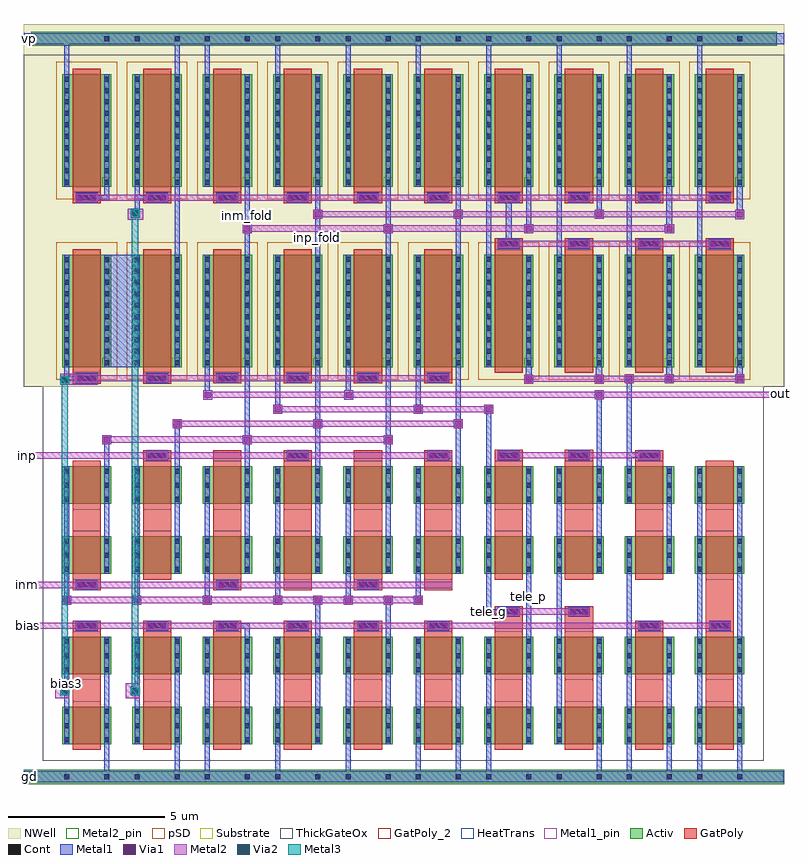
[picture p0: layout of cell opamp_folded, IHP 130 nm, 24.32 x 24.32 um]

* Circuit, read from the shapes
.subckt opamp_folded bias bias3 gd inm inm_fold inp inp_fold out tele_g tele_m tele_p vp
XM1 gd bias bias3 gd sg13_hv_nmos w=1.2u l=0.9u m=2
XM2 inm_fold inm n1 gd sg13_hv_nmos w=1.2u l=0.9u m=6
XM3 gd bias n2 gd sg13_hv_nmos w=1.2u l=0.9u m=2
XM4 inp_fold inp n1 gd sg13_hv_nmos w=1.2u l=0.9u m=6
XM5 bias bias gd gd sg13_hv_nmos w=1.2u l=0.9u m=2
XM6 n1 bias gd gd sg13_hv_nmos w=1.2u l=0.9u m=4
XM7 gd bias gd gd sg13_hv_nmos w=1.2u l=0.9u m=8
XM8 tele_p tele_g gd gd sg13_hv_nmos w=1.2u l=0.9u m=2
XM9 tele_p n3 tele_g gd sg13_hv_nmos w=1.2u l=0.9u m=2
XM10 gd tele_g tele_m gd sg13_hv_nmos w=1.2u l=0.9u m=2
XM11 out n3 tele_m gd sg13_hv_nmos w=1.2u l=0.9u m=2
XM12 n4 n3 gd gd sg13_hv_nmos w=1.2u l=0.9u
XM13 n4 n3 n3 gd sg13_hv_nmos w=1.2u l=0.9u
XM14 n5 bias3 bias3 vp sg13_hv_pmos w=3.6u l=0.9u
XM15 n2 n2 vp vp sg13_hv_pmos w=3.6u l=0.9u m=2
XM16 vp bias3 n5 vp sg13_hv_pmos w=3.6u l=0.9u
XM17 inm_fold bias3 out vp sg13_hv_pmos w=3.6u l=0.9u m=2
XM18 inm_fold n2 vp vp sg13_hv_pmos w=3.6u l=0.9u m=4
XM19 inp_fold bias3 tele_g vp sg13_hv_pmos w=3.6u l=0.9u m=2
XM20 inp_fold n2 vp vp sg13_hv_pmos w=3.6u l=0.9u m=4
XM21 n3 n2 vp vp sg13_hv_pmos w=3.6u l=0.9u m=4
.ends

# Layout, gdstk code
import gdstk
lib = gdstk.Library(unit=1e-6, precision=1e-09)
def R(c, l, rs):  # rectangles x0, y0, x1, y1
    for r in rs: c.add(gdstk.rectangle(r[:2], r[2:], *l))
def A(c, l, x, y, w, h, nx, ny, dx, dy):  # array of equal rectangles
    R(c, l, [(x+i*dx, y+j*dy, x+i*dx+w, y+j*dy+h) for i in range(nx) for j in range(ny)])
Activ = (1, 0)
GatPoly = (5, 0)
GatPoly_2 = (5, 2)
Cont = (6, 0)
Metal1 = (8, 0)
Metal1_pin = (8, 2)
Metal2 = (10, 0)
Metal2_pin = (10, 2)
pSD = (14, 0)
Via1 = (19, 0)
Via2 = (29, 0)
Metal3 = (30, 0)
NWell = (31, 0)
Substrate = (40, 0)
ThickGateOx = (44, 0)
HeatTrans = (51, 0)

pmoshv = lib.new_cell('pmosHV')
R(pmoshv, Activ, [(0,0,0.3,0.3), (0,0,1.58,3.6), (1.28,0,1.58,0.3)])
R(pmoshv, GatPoly, [(0.34,-0.18,1.24,3.78)])
R(pmoshv, GatPoly_2, [(0.34,-0.18,1.24,3.78)])
A(pmoshv, Cont, 0.07, 0.07, 0.16, 0.16, 1, 3, 0, 0.365)
A(pmoshv, Cont, 1.35, 0.07, 0.16, 0.16, 1, 3, 0, 0.365)
A(pmoshv, Cont, 0.07, 1.17, 0.16, 0.16, 1, 3, 0, 0.365)
A(pmoshv, Cont, 1.35, 1.17, 0.16, 0.16, 1, 3, 0, 0.365)
A(pmoshv, Cont, 0.07, 2.27, 0.16, 0.16, 1, 3, 0, 0.365)
A(pmoshv, Cont, 1.35, 2.27, 0.16, 0.16, 1, 3, 0, 0.365)
R(pmoshv, Cont, [(0.07,3.37,0.23,3.53), (1.35,3.37,1.51,3.53)])
R(pmoshv, Metal1, [(0.07,0,0.23,3.6), (1.35,0,1.51,3.6)])
R(pmoshv, Metal1_pin, [(0.07,0,0.23,3.6), (1.35,0,1.51,3.6)])
R(pmoshv, pSD, [(-0.18,-0.4,1.76,4)])
R(pmoshv, NWell, [(-0.62,-0.62,2.2,4.22)])
R(pmoshv, Substrate, [(1.28,0,1.58,0.3)])
R(pmoshv, ThickGateOx, [(-0.62,-0.62,2.2,4.22)])
R(pmoshv, HeatTrans, [(0.34,-0.18,1.24,3.78)])
pmoshv.add(gdstk.Label('pmosHV', (0.79,1.8), layer=63, texttype=0))
pmoshv.add(gdstk.Label('pmos', (0.79,1.8), layer=51, texttype=0))

via_stack_1 = lib.new_cell('via_stack$1')
R(via_stack_1, Metal1, [(-0.145,-0.145,0.145,0.145)])
R(via_stack_1, Metal2, [(-0.145,-0.145,0.145,0.145)])
R(via_stack_1, Via1, [(-0.095,-0.095,0.095,0.095)])

via_stack = lib.new_cell('via_stack')
R(via_stack, Metal1, [(-0.35,-0.145,0.35,0.145)])
R(via_stack, Metal2, [(-0.35,-0.145,0.35,0.145)])
R(via_stack, Via1, [(-0.3,-0.095,-0.11,0.095), (0.11,-0.095,0.3,0.095)])

via_stack_6 = lib.new_cell('via_stack$6')
R(via_stack_6, Metal1, [(-0.145,-0.145,0.145,0.145)])
R(via_stack_6, Metal2, [(-0.145,-0.145,0.145,0.145)])
R(via_stack_6, Via1, [(-0.095,-0.095,0.095,0.095)])
R(via_stack_6, Via2, [(-0.095,-0.095,0.095,0.095)])
R(via_stack_6, Metal3, [(-0.145,-0.145,0.145,0.145)])

nmoshv = lib.new_cell('nmosHV')
R(nmoshv, Activ, [(0,0,0.3,0.3), (0,0,1.58,1.2), (1.28,0,1.58,0.3)])
R(nmoshv, GatPoly, [(0.34,-0.18,1.24,1.38)])
R(nmoshv, GatPoly_2, [(0.34,-0.18,1.24,1.38)])
A(nmoshv, Cont, 0.07, 0.07, 0.16, 0.16, 1, 3, 0, 0.45)
A(nmoshv, Cont, 1.35, 0.07, 0.16, 0.16, 1, 3, 0, 0.45)
R(nmoshv, Metal1, [(0.07,0,0.23,1.2), (1.35,0,1.51,1.2)])
R(nmoshv, Metal1_pin, [(0.07,0,0.23,1.2), (1.35,0,1.51,1.2)])
R(nmoshv, ThickGateOx, [(-0.27,-0.52,1.85,1.72)])
R(nmoshv, HeatTrans, [(0.34,-0.18,1.24,1.38)])
nmoshv.add(gdstk.Label('nmosHV', (0.79,0.6), layer=63, texttype=0))
nmoshv.add(gdstk.Label('nmosHV', (0.79,0.6), layer=51, texttype=0))

opamp_folded = lib.new_cell('opamp_folded')
A(opamp_folded, GatPoly, 6.06, 6.2, 0.9, 0.34, 4, 2, 2.25, 6.615)
A(opamp_folded, GatPoly, 3.81, 10.34, 0.9, 0.34, 5, 1, 2.25, 0)
A(opamp_folded, GatPoly, 15.06, 17.115, 0.9, 0.34, 4, 1, 2.25, 0)
A(opamp_folded, GatPoly, 1.56, 18.585, 0.9, 0.34, 10, 1, 2.25, 0)
R(opamp_folded, GatPoly, [(1.56,6.2,2.46,6.54), (1.56,12.81,2.46,13.15), (3.81,12.81,4.71,13.15)])
A(opamp_folded, Cont, 1.71, 4.98, 0.6, 0.16, 6, 2, 2.25, 7.925)
A(opamp_folded, Cont, 1.71, 6.29, 0.6, 0.16, 3, 1, 4.5, 0)
A(opamp_folded, Cont, 3.96, 10.43, 0.6, 0.16, 3, 1, 4.5, 0)
A(opamp_folded, Cont, 15.21, 17.205, 0.6, 0.16, 4, 1, 2.25, 0)
A(opamp_folded, Cont, 1.71, 18.675, 0.6, 0.16, 10, 1, 2.25, 0)
R(opamp_folded, Cont, [(1.29,0.15,1.45,0.31), (2.57,0.15,2.73,0.31), (3.54,0.15,3.7,0.31), (4.82,0.15,4.98,0.31), (5.79,0.15,5.95,0.31), (7.07,0.15,7.23,0.31), (8.04,0.15,8.2,0.31), (9.32,0.15,9.48,0.31), (10.29,0.15,10.45,0.31), (11.57,0.15,11.73,0.31), (12.54,0.15,12.7,0.31), (13.82,0.15,13.98,0.31), (14.79,0.15,14.95,0.31), (16.07,0.15,16.23,0.31), (17.04,0.15,17.2,0.31), (18.32,0.15,18.48,0.31), (19.29,0.15,19.45,0.31), (20.57,0.15,20.73,0.31), (21.54,0.15,21.7,0.31), (22.82,0.15,22.98,0.31), (19.71,4.98,20.31,5.14), (21.97,4.98,22.57,5.14), (15.21,5.43,15.81,5.59), (17.46,5.43,18.06,5.59), (19.71,10.43,20.31,10.59), (15.21,10.44,15.81,10.6), (17.46,10.44,18.06,10.6), (2.57,23.765,2.73,23.925), (3.54,23.765,3.7,23.925), (4.82,23.765,4.98,23.925), (5.79,23.765,5.95,23.925), (7.07,23.765,7.23,23.925), (8.04,23.765,8.2,23.925), (9.32,23.765,9.48,23.925), (10.29,23.765,10.45,23.925), (11.57,23.765,11.73,23.925), (12.54,23.765,12.7,23.925), (13.82,23.765,13.98,23.925), (14.79,23.765,14.95,23.925), (16.07,23.765,16.23,23.925), (17.04,23.765,17.2,23.925), (18.32,23.765,18.48,23.925), (19.29,23.765,19.45,23.925), (20.57,23.765,20.73,23.925), (21.54,23.765,21.7,23.925), (22.82,23.765,22.98,23.925)])
A(opamp_folded, Metal1, 1.66, 4.89, 0.7, 0.34, 6, 1, 2.25, 0)
A(opamp_folded, Metal1, 1.66, 6.2, 0.7, 0.34, 3, 1, 4.5, 0)
A(opamp_folded, Metal1, 3.91, 10.34, 0.7, 0.34, 3, 1, 4.5, 0)
A(opamp_folded, Metal1, 6.16, 12.815, 0.7, 0.34, 4, 1, 2.25, 0)
A(opamp_folded, Metal1, 15.16, 17.115, 0.7, 0.34, 4, 1, 2.25, 0)
A(opamp_folded, Metal1, 1.66, 18.585, 0.7, 0.34, 10, 1, 2.25, 0)
R(opamp_folded, Metal1, [(19.66,4.89,20.36,5.23), (21.92,4.89,22.62,5.23), (15.16,5.345,15.86,5.685), (17.41,5.345,18.11,5.685), (19.66,10.34,20.36,10.68), (15.16,10.35,15.86,10.69), (17.41,10.35,18.11,10.69), (1.66,12.81,2.36,13.15), (3.91,12.81,4.61,13.15), (2.57,13.33,3.7,16.93)])
R(opamp_folded, Metal1_pin, [(0,0.05,0.36,0.41), (0,23.665,0.36,24.025)])
R(opamp_folded, Metal2, [(1.01,2.74,1.45,3.23), (3.26,2.74,3.7,3.23), (1.16,12.77,2.36,13.125), (3.32,18.045,3.81,18.405)])
R(opamp_folded, Metal2_pin, [(0,4.96,0.2,5.16), (0,6.27,0.2,6.47), (0,10.41,0.2,10.61), (24.12,12.35,24.32,12.55)])
R(opamp_folded, NWell, [(0,12.71,24.32,24.315)])
R(opamp_folded, ThickGateOx, [(0.6,0.75,23.67,12.71), (0,12.71,24.32,23.325)])
opamp_folded.add(gdstk.FlexPath([(14.87,6.72),(14.87,12.09)], 0.16, ends="flush", simple_path=True, layer=8, datatype=0))  # Metal1
opamp_folded.add(gdstk.FlexPath([(18.4,6.72),(18.4,10.16)], 0.16, ends="flush", simple_path=True, layer=8, datatype=0))  # Metal1
opamp_folded.add(gdstk.FlexPath([(5.87,13.565),(5.87,12.35)], 0.16, ends="flush", simple_path=True, layer=8, datatype=0))  # Metal1
opamp_folded.add(gdstk.FlexPath([(8.12,13.565),(8.12,11.89)], 0.16, ends="flush", simple_path=True, layer=8, datatype=0))  # Metal1
opamp_folded.add(gdstk.FlexPath([(10.37,13.565),(10.37,12.35)], 0.16, ends="flush", simple_path=True, layer=8, datatype=0))  # Metal1
opamp_folded.add(gdstk.FlexPath([(12.62,13.35),(12.62,11.89)], 0.16, ends="flush", simple_path=True, layer=8, datatype=0))  # Metal1
opamp_folded.add(gdstk.FlexPath([(19.37,10.16),(19.37,13.105)], 0.16, ends="flush", simple_path=True, layer=8, datatype=0))  # Metal1
opamp_folded.add(gdstk.FlexPath([(18.4,10.16),(18.4,12.6)], 0.16, ends="flush", simple_path=True, layer=8, datatype=0))  # Metal1
opamp_folded.add(gdstk.FlexPath([(7.15,6.72),(7.15,17.86)], 0.16, ends="flush", simple_path=True, layer=8, datatype=0))  # Metal1
opamp_folded.add(gdstk.FlexPath([(9.4,6.72),(9.4,18.315)], 0.16, ends="flush", simple_path=True, layer=8, datatype=0))  # Metal1
opamp_folded.add(gdstk.FlexPath([(11.65,6.72),(11.65,17.86)], 0.16, ends="flush", simple_path=True, layer=8, datatype=0))  # Metal1
opamp_folded.add(gdstk.FlexPath([(13.9,6.72),(13.9,18.315)], 0.16, ends="flush", simple_path=True, layer=8, datatype=0))  # Metal1
opamp_folded.add(gdstk.FlexPath([(22.9,13.335),(22.9,12.865)], 0.2, ends="flush", simple_path=True, layer=8, datatype=0))  # Metal1
opamp_folded.add(gdstk.FlexPath([(20.65,13.335),(20.65,12.865)], 0.2, ends="flush", simple_path=True, layer=8, datatype=0))  # Metal1
opamp_folded.add(gdstk.FlexPath([(14.87,13.335),(14.87,23.845)], 0.16, ends="flush", simple_path=True, layer=8, datatype=0))  # Metal1
opamp_folded.add(gdstk.FlexPath([(17.12,13.335),(17.12,23.845)], 0.16, ends="flush", simple_path=True, layer=8, datatype=0))  # Metal1
opamp_folded.add(gdstk.FlexPath([(12.62,19.105),(12.62,23.845)], 0.16, ends="flush", simple_path=True, layer=8, datatype=0))  # Metal1
opamp_folded.add(gdstk.FlexPath([(10.37,19.105),(10.37,23.845)], 0.16, ends="flush", simple_path=True, layer=8, datatype=0))  # Metal1
opamp_folded.add(gdstk.FlexPath([(8.12,19.105),(8.12,23.845)], 0.16, ends="flush", simple_path=True, layer=8, datatype=0))  # Metal1
opamp_folded.add(gdstk.FlexPath([(5.87,19.105),(5.87,23.845)], 0.16, ends="flush", simple_path=True, layer=8, datatype=0))  # Metal1
opamp_folded.add(gdstk.FlexPath([(1.37,19.105),(1.37,23.845)], 0.16, ends="flush", simple_path=True, layer=8, datatype=0))  # Metal1
opamp_folded.add(gdstk.FlexPath([(18.4,13.335),(18.4,12.86)], 0.2, ends="flush", simple_path=True, layer=8, datatype=0))  # Metal1
opamp_folded.add(gdstk.FlexPath([(16.15,13.335),(16.15,12.86)], 0.2, ends="flush", simple_path=True, layer=8, datatype=0))  # Metal1
opamp_folded.add(gdstk.FlexPath([(0,23.845),(24.32,23.845)], 0.36, ends="flush", simple_path=True, layer=8, datatype=0))  # Metal1
opamp_folded.add(gdstk.FlexPath([(3.62,18.11),(3.62,19.105)], 0.16, ends="flush", simple_path=True, layer=8, datatype=0))  # Metal1
opamp_folded.add(gdstk.FlexPath([(19.37,13.335),(19.37,23.845)], 0.16, ends="flush", simple_path=True, layer=8, datatype=0))  # Metal1
opamp_folded.add(gdstk.FlexPath([(21.62,13.335),(21.62,23.845)], 0.16, ends="flush", simple_path=True, layer=8, datatype=0))  # Metal1
opamp_folded.add(gdstk.FlexPath([(1.66,12.98),(1.37,12.98),(1.37,13.33)], 0.16, ends="flush", simple_path=True, layer=8, datatype=0))  # Metal1
opamp_folded.add(gdstk.FlexPath([(15.51,18.84),(15.51,17.455)], 0.2, ends="flush", simple_path=True, layer=8, datatype=0))  # Metal1
opamp_folded.add(gdstk.FlexPath([(22.9,19.105),(22.9,18.08)], 0.2, ends="flush", simple_path=True, layer=8, datatype=0))  # Metal1
opamp_folded.add(gdstk.FlexPath([(20.65,19.105),(20.65,17.625)], 0.2, ends="flush", simple_path=True, layer=8, datatype=0))  # Metal1
opamp_folded.add(gdstk.FlexPath([(18.4,22.705),(18.4,18.12)], 0.16, ends="flush", simple_path=True, layer=8, datatype=0))  # Metal1
opamp_folded.add(gdstk.FlexPath([(16.15,22.67),(16.15,17.67)], 0.16, ends="flush", simple_path=True, layer=8, datatype=0))  # Metal1
opamp_folded.add(gdstk.FlexPath([(13.9,22.705),(13.9,18.12)], 0.16, ends="flush", simple_path=True, layer=8, datatype=0))  # Metal1
opamp_folded.add(gdstk.FlexPath([(4.9,16.93),(4.9,23.845)], 0.16, ends="flush", simple_path=True, layer=8, datatype=0))  # Metal1
opamp_folded.add(gdstk.FlexPath([(7.15,22.67),(7.15,17.67)], 0.16, ends="flush", simple_path=True, layer=8, datatype=0))  # Metal1
opamp_folded.add(gdstk.FlexPath([(9.4,22.705),(9.4,18.12)], 0.16, ends="flush", simple_path=True, layer=8, datatype=0))  # Metal1
opamp_folded.add(gdstk.FlexPath([(11.65,22.67),(11.65,17.67)], 0.16, ends="flush", simple_path=True, layer=8, datatype=0))  # Metal1
opamp_folded.add(gdstk.FlexPath([(2.65,19.105),(2.65,18.755),(2.36,18.755)], 0.16, ends="flush", simple_path=True, layer=8, datatype=0))  # Metal1
opamp_folded.add(gdstk.FlexPath([(3.62,19.105),(3.62,18.755),(3.91,18.755)], 0.16, ends="flush", simple_path=True, layer=8, datatype=0))  # Metal1
opamp_folded.add(gdstk.FlexPath([(0,0.23),(24.32,0.23)], 0.36, ends="flush", simple_path=True, layer=8, datatype=0))  # Metal1
opamp_folded.add(gdstk.FlexPath([(1.37,1.27),(1.37,4.71)], 0.16, ends="flush", simple_path=True, layer=8, datatype=0))  # Metal1
opamp_folded.add(gdstk.FlexPath([(4.9,4.71),(4.9,0.23)], 0.16, ends="flush", simple_path=True, layer=8, datatype=0))  # Metal1
opamp_folded.add(gdstk.FlexPath([(5.87,4.71),(5.87,0.23)], 0.16, ends="flush", simple_path=True, layer=8, datatype=0))  # Metal1
opamp_folded.add(gdstk.FlexPath([(8.12,4.71),(8.12,0.23)], 0.16, ends="flush", simple_path=True, layer=8, datatype=0))  # Metal1
opamp_folded.add(gdstk.FlexPath([(10.37,4.71),(10.37,0.23)], 0.16, ends="flush", simple_path=True, layer=8, datatype=0))  # Metal1
opamp_folded.add(gdstk.FlexPath([(13.9,4.71),(13.9,0.23)], 0.16, ends="flush", simple_path=True, layer=8, datatype=0))  # Metal1
opamp_folded.add(gdstk.FlexPath([(12.62,4.71),(12.62,0.23)], 0.16, ends="flush", simple_path=True, layer=8, datatype=0))  # Metal1
opamp_folded.add(gdstk.FlexPath([(14.87,4.71),(14.87,0.23)], 0.16, ends="flush", simple_path=True, layer=8, datatype=0))  # Metal1
opamp_folded.add(gdstk.FlexPath([(18.4,4.71),(18.4,0.23)], 0.16, ends="flush", simple_path=True, layer=8, datatype=0))  # Metal1
opamp_folded.add(gdstk.FlexPath([(20.65,4.71),(20.65,0.23)], 0.16, ends="flush", simple_path=True, layer=8, datatype=0))  # Metal1
opamp_folded.add(gdstk.FlexPath([(21.62,10.16),(21.62,0.23)], 0.16, ends="flush", simple_path=True, layer=8, datatype=0))  # Metal1
opamp_folded.add(gdstk.FlexPath([(22.9,10.16),(22.9,0.23)], 0.16, ends="flush", simple_path=True, layer=8, datatype=0))  # Metal1
opamp_folded.add(gdstk.FlexPath([(1.37,5.74),(1.37,8.96)], 0.16, ends="flush", simple_path=True, layer=8, datatype=0))  # Metal1
opamp_folded.add(gdstk.FlexPath([(2.65,7.92),(2.65,11.12)], 0.16, ends="flush", simple_path=True, layer=8, datatype=0))  # Metal1
opamp_folded.add(gdstk.FlexPath([(3.62,5.74),(3.62,8.96)], 0.16, ends="flush", simple_path=True, layer=8, datatype=0))  # Metal1
opamp_folded.add(gdstk.FlexPath([(4.9,7.92),(4.9,11.58)], 0.16, ends="flush", simple_path=True, layer=8, datatype=0))  # Metal1
opamp_folded.add(gdstk.FlexPath([(19.37,6.72),(19.37,0.23)], 0.16, ends="flush", simple_path=True, layer=8, datatype=0))  # Metal1
opamp_folded.add(gdstk.FlexPath([(10.37,10.16),(10.37,5.78)], 0.16, ends="flush", simple_path=True, layer=8, datatype=0))  # Metal1
opamp_folded.add(gdstk.FlexPath([(14.87,6.72),(14.87,5.515),(15.16,5.515)], 0.16, ends="flush", simple_path=True, layer=8, datatype=0))  # Metal1
opamp_folded.add(gdstk.FlexPath([(12.62,10.16),(12.62,5.78)], 0.16, ends="flush", simple_path=True, layer=8, datatype=0))  # Metal1
opamp_folded.add(gdstk.FlexPath([(11.65,4.71),(11.65,1.27)], 0.16, ends="flush", simple_path=True, layer=8, datatype=0))  # Metal1
opamp_folded.add(gdstk.FlexPath([(11.65,1.27),(11.65,5.99)], 0.16, ends="flush", simple_path=True, layer=8, datatype=0))  # Metal1
opamp_folded.add(gdstk.FlexPath([(16.15,1.27),(16.15,10.16)], 0.16, ends="flush", simple_path=True, layer=8, datatype=0))  # Metal1
opamp_folded.add(gdstk.FlexPath([(17.12,10.16),(17.12,1.27)], 0.16, ends="flush", simple_path=True, layer=8, datatype=0))  # Metal1
opamp_folded.add(gdstk.FlexPath([(8.12,10.09),(8.12,5.78)], 0.16, ends="flush", simple_path=True, layer=8, datatype=0))  # Metal1
opamp_folded.add(gdstk.FlexPath([(5.87,10.16),(5.87,5.785)], 0.16, ends="flush", simple_path=True, layer=8, datatype=0))  # Metal1
opamp_folded.add(gdstk.FlexPath([(9.4,1.27),(9.4,5.99)], 0.16, ends="flush", simple_path=True, layer=8, datatype=0))  # Metal1
opamp_folded.add(gdstk.FlexPath([(7.15,1.27),(7.15,5.06),(6.86,5.06)], 0.16, ends="flush", simple_path=True, layer=8, datatype=0))  # Metal1
opamp_folded.add(gdstk.FlexPath([(3.62,1.27),(3.62,4.71)], 0.16, ends="flush", simple_path=True, layer=8, datatype=0))  # Metal1
opamp_folded.add(gdstk.FlexPath([(20.65,7.92),(20.65,8.96)], 0.16, ends="flush", simple_path=True, layer=8, datatype=0))  # Metal1
opamp_folded.add(gdstk.FlexPath([(19.37,10.16),(19.37,10.51),(19.66,10.51)], 0.16, ends="flush", simple_path=True, layer=8, datatype=0))  # Metal1
opamp_folded.add(gdstk.FlexPath([(2.65,4.71),(2.65,0.23)], 0.16, ends="flush", simple_path=True, layer=8, datatype=0))  # Metal1
opamp_folded.add(gdstk.FlexPath([(0.24,23.845),(24.08,23.845)], 0.46, ends="flush", simple_path=True, layer=1, datatype=0))  # Activ
opamp_folded.add(gdstk.FlexPath([(0,0.23),(24.32,0.23)], 0.46, ends="flush", simple_path=True, layer=1, datatype=0))  # Activ
opamp_folded.add(gdstk.FlexPath([(17.76,1.09),(17.76,5.685)], 0.9, ends="flush", simple_path=True, layer=5, datatype=0))  # GatPoly
opamp_folded.add(gdstk.FlexPath([(15.51,1.09),(15.51,5.685)], 0.9, ends="flush", simple_path=True, layer=5, datatype=0))  # GatPoly
opamp_folded.add(gdstk.FlexPath([(11.01,8.1),(11.01,8.78)], 0.9, ends="flush", simple_path=True, layer=5, datatype=0))  # GatPoly
opamp_folded.add(gdstk.FlexPath([(13.26,8.1),(13.26,8.78)], 0.9, ends="flush", simple_path=True, layer=5, datatype=0))  # GatPoly
opamp_folded.add(gdstk.FlexPath([(11.01,1.09),(11.01,5.23)], 0.9, ends="flush", simple_path=True, layer=5, datatype=0))  # GatPoly
opamp_folded.add(gdstk.FlexPath([(8.76,1.09),(8.76,5.23)], 0.9, ends="flush", simple_path=True, layer=5, datatype=0))  # GatPoly
opamp_folded.add(gdstk.FlexPath([(13.26,1.09),(13.26,5.23)], 0.9, ends="flush", simple_path=True, layer=5, datatype=0))  # GatPoly
opamp_folded.add(gdstk.FlexPath([(20.01,1.09),(20.01,5.23)], 0.9, ends="flush", simple_path=True, layer=5, datatype=0))  # GatPoly
opamp_folded.add(gdstk.FlexPath([(8.76,8.1),(8.76,8.78)], 0.9, ends="flush", simple_path=True, layer=5, datatype=0))  # GatPoly
opamp_folded.add(gdstk.FlexPath([(6.51,8.1),(6.51,8.78)], 0.9, ends="flush", simple_path=True, layer=5, datatype=0))  # GatPoly
opamp_folded.add(gdstk.FlexPath([(15.51,6.54),(15.51,10.69)], 0.9, ends="flush", simple_path=True, layer=5, datatype=0))  # GatPoly
opamp_folded.add(gdstk.FlexPath([(17.76,6.54),(17.76,10.69)], 0.9, ends="flush", simple_path=True, layer=5, datatype=0))  # GatPoly
opamp_folded.add(gdstk.FlexPath([(2.01,1.09),(2.01,5.23)], 0.9, ends="flush", simple_path=True, layer=5, datatype=0))  # GatPoly
opamp_folded.add(gdstk.FlexPath([(4.26,1.09),(4.26,5.23)], 0.9, ends="flush", simple_path=True, layer=5, datatype=0))  # GatPoly
opamp_folded.add(gdstk.FlexPath([(4.26,8.1),(4.26,8.78)], 0.9, ends="flush", simple_path=True, layer=5, datatype=0))  # GatPoly
opamp_folded.add(gdstk.FlexPath([(2.01,8.1),(2.01,8.78)], 0.9, ends="flush", simple_path=True, layer=5, datatype=0))  # GatPoly
opamp_folded.add(gdstk.FlexPath([(6.51,5.23),(6.51,1.09)], 0.9, ends="flush", simple_path=True, layer=5, datatype=0))  # GatPoly
opamp_folded.add(gdstk.FlexPath([(20.01,10.68),(20.01,6.54)], 0.9, ends="flush", simple_path=True, layer=5, datatype=0))  # GatPoly
opamp_folded.add(gdstk.FlexPath([(22.26,1.09),(22.26,5.23)], 0.9, ends="flush", simple_path=True, layer=5, datatype=0))  # GatPoly
opamp_folded.add(gdstk.FlexPath([(22.26,10.34),(22.26,5.23)], 0.9, ends="flush", simple_path=True, layer=5, datatype=0))  # GatPoly
opamp_folded.add(gdstk.FlexPath([(0.03,0.23),(24.29,0.23)], 0.36, ends="flush", simple_path=True, layer=14, datatype=0))  # pSD
opamp_folded.add(gdstk.FlexPath([(14.04,11.525),(4.805,11.525)], 0.2, ends="flush", simple_path=True, layer=10, datatype=0))  # Metal2
opamp_folded.add(gdstk.FlexPath([(2.57,11.02),(11.795,11.02)], 0.2, ends="flush", simple_path=True, layer=10, datatype=0))  # Metal2
opamp_folded.add(gdstk.FlexPath([(15.01,11.99),(7.98,11.99)], 0.2, ends="flush", simple_path=True, layer=10, datatype=0))  # Metal2
opamp_folded.add(gdstk.FlexPath([(24.32,12.45),(5.79,12.45)], 0.2, ends="flush", simple_path=True, layer=10, datatype=0))  # Metal2
opamp_folded.add(gdstk.FlexPath([(23.045,12.965),(16.005,12.965)], 0.2, ends="flush", simple_path=True, layer=10, datatype=0))  # Metal2
opamp_folded.add(gdstk.FlexPath([(15.16,17.285),(22.61,17.285)], 0.2, ends="flush", simple_path=True, layer=10, datatype=0))  # Metal2
opamp_folded.add(gdstk.FlexPath([(1.66,12.98),(13.61,12.98)], 0.2, ends="flush", simple_path=True, layer=10, datatype=0))  # Metal2
opamp_folded.add(gdstk.FlexPath([(7.005,17.77),(20.8,17.77)], 0.2, ends="flush", simple_path=True, layer=10, datatype=0))  # Metal2
opamp_folded.add(gdstk.FlexPath([(23.05,18.225),(9.255,18.225)], 0.2, ends="flush", simple_path=True, layer=10, datatype=0))  # Metal2
opamp_folded.add(gdstk.FlexPath([(4.61,18.755),(1.66,18.755)], 0.2, ends="flush", simple_path=True, layer=10, datatype=0))  # Metal2
opamp_folded.add(gdstk.FlexPath([(22.61,18.755),(4.56,18.755)], 0.2, ends="flush", simple_path=True, layer=10, datatype=0))  # Metal2
opamp_folded.add(gdstk.FlexPath([(13.71,10.51),(0,10.51)], 0.2, ends="flush", simple_path=True, layer=10, datatype=0))  # Metal2
opamp_folded.add(gdstk.FlexPath([(13.71,6.37),(0,6.37)], 0.2, ends="flush", simple_path=True, layer=10, datatype=0))  # Metal2
opamp_folded.add(gdstk.FlexPath([(15.16,5.515),(18.11,5.515)], 0.2, ends="flush", simple_path=True, layer=10, datatype=0))  # Metal2
opamp_folded.add(gdstk.FlexPath([(0,5.06),(22.62,5.06)], 0.2, ends="flush", simple_path=True, layer=10, datatype=0))  # Metal2
opamp_folded.add(gdstk.FlexPath([(15.16,10.52),(20.36,10.52)], 0.2, ends="flush", simple_path=True, layer=10, datatype=0))  # Metal2
opamp_folded.add(gdstk.FlexPath([(12.765,5.885),(1.265,5.885)], 0.2, ends="flush", simple_path=True, layer=10, datatype=0))  # Metal2
opamp_folded.add(gdstk.FlexPath([(1.305,12.855),(1.305,3.085)], 0.2, ends="flush", simple_path=True, layer=30, datatype=0))  # Metal3
opamp_folded.add(gdstk.FlexPath([(3.555,3.13),(3.555,18.195)], 0.2, ends="flush", simple_path=True, layer=30, datatype=0))  # Metal3
opamp_folded.add(gdstk.Reference(pmoshv, (10.22,13.335)))
opamp_folded.add(gdstk.Reference(pmoshv, (12.47,13.335)))
opamp_folded.add(gdstk.Reference(via_stack_1, (8.125,11.985)))
opamp_folded.add(gdstk.Reference(via_stack_1, (12.62,11.985)))
opamp_folded.add(gdstk.Reference(via_stack_1, (14.865,11.995)))
opamp_folded.add(gdstk.Reference(pmoshv, (12.47,19.105)))
opamp_folded.add(gdstk.Reference(pmoshv, (10.22,19.105)))
opamp_folded.add(gdstk.Reference(pmoshv, (21.47,13.335)))
opamp_folded.add(gdstk.Reference(via_stack_1, (18.4,12.455)))
opamp_folded.add(gdstk.Reference(pmoshv, (16.97,13.335)))
opamp_folded.add(gdstk.Reference(pmoshv, (21.47,19.105)))
opamp_folded.add(gdstk.Reference(pmoshv, (19.22,19.105)))
opamp_folded.add(gdstk.Reference(via_stack_1, (19.37,12.96)))
opamp_folded.add(gdstk.Reference(via_stack_1, (22.9,12.96)))
opamp_folded.add(gdstk.Reference(via_stack_1, (20.65,12.96)))
opamp_folded.add(gdstk.Reference(via_stack_1, (16.15,12.955)))
opamp_folded.add(gdstk.Reference(via_stack_1, (18.4,12.955)))
opamp_folded.add(gdstk.Reference(via_stack, (13.26,12.985)))
opamp_folded.add(gdstk.Reference(pmoshv, (16.97,19.105)))
opamp_folded.add(gdstk.Reference(via_stack, (22.26,17.285)))
opamp_folded.add(gdstk.Reference(via_stack, (20.01,17.285)))
opamp_folded.add(gdstk.Reference(via_stack, (17.76,17.285)))
opamp_folded.add(gdstk.Reference(via_stack, (15.51,17.285)))
opamp_folded.add(gdstk.Reference(pmoshv, (14.72,19.105)))
opamp_folded.add(gdstk.Reference(via_stack, (22.26,18.755)))
opamp_folded.add(gdstk.Reference(via_stack, (20.01,18.755)))
opamp_folded.add(gdstk.Reference(via_stack, (17.76,18.755)))
opamp_folded.add(gdstk.Reference(via_stack, (15.51,18.755)))
opamp_folded.add(gdstk.Reference(via_stack, (13.26,18.755)))
opamp_folded.add(gdstk.Reference(via_stack_1, (22.905,18.22)))
opamp_folded.add(gdstk.Reference(via_stack_1, (20.655,17.77)))
opamp_folded.add(gdstk.Reference(via_stack_1, (18.4,18.225)))
opamp_folded.add(gdstk.Reference(via_stack_1, (16.15,17.77)))
opamp_folded.add(gdstk.Reference(via_stack_1, (13.9,18.225)))
opamp_folded.add(gdstk.Reference(pmoshv, (19.22,13.335)))
opamp_folded.add(gdstk.Reference(pmoshv, (14.72,13.335)))
opamp_folded.add(gdstk.Reference(via_stack_1, (5.885,12.445)))
opamp_folded.add(gdstk.Reference(via_stack_1, (10.39,12.445)))
opamp_folded.add(gdstk.Reference(pmoshv, (5.72,13.335)))
opamp_folded.add(gdstk.Reference(pmoshv, (1.22,13.33)))
opamp_folded.add(gdstk.Reference(pmoshv, (3.47,13.33)))
opamp_folded.add(gdstk.Reference(via_stack_1, (7.15,17.77)))
opamp_folded.add(gdstk.Reference(via_stack, (4.26,12.98)))
opamp_folded.add(gdstk.Reference(via_stack, (2.01,12.98)))
opamp_folded.add(gdstk.Reference(pmoshv, (1.22,19.105)))
opamp_folded.add(gdstk.Reference(pmoshv, (5.72,19.105)))
opamp_folded.add(gdstk.Reference(via_stack, (6.51,12.985)))
opamp_folded.add(gdstk.Reference(via_stack_6, (1.305,12.915)))
opamp_folded.add(gdstk.Reference(via_stack_6, (3.555,18.255)))
opamp_folded.add(gdstk.Reference(via_stack, (4.26,18.755)))
opamp_folded.add(gdstk.Reference(via_stack, (11.01,18.755)))
opamp_folded.add(gdstk.Reference(via_stack, (11.01,12.985)))
opamp_folded.add(gdstk.Reference(pmoshv, (7.97,19.105)))
opamp_folded.add(gdstk.Reference(via_stack, (8.76,12.985)))
opamp_folded.add(gdstk.Reference(via_stack, (8.76,18.755)))
opamp_folded.add(gdstk.Reference(via_stack, (6.51,18.755)))
opamp_folded.add(gdstk.Reference(pmoshv, (3.47,19.105)))
opamp_folded.add(gdstk.Reference(via_stack_1, (9.4,18.225)))
opamp_folded.add(gdstk.Reference(via_stack, (2.01,18.755)))
opamp_folded.add(gdstk.Reference(via_stack_1, (11.65,17.77)))
opamp_folded.add(gdstk.Reference(pmoshv, (7.97,13.335)))
opamp_folded.add(gdstk.Reference(via_stack, (6.51,5.06)))
opamp_folded.add(gdstk.Reference(nmoshv, (3.47,3.51)))
opamp_folded.add(gdstk.Reference(nmoshv, (3.47,1.27)))
opamp_folded.add(gdstk.Reference(nmoshv, (10.22,3.51)))
opamp_folded.add(gdstk.Reference(via_stack_1, (1.37,5.885)))
opamp_folded.add(gdstk.Reference(via_stack, (4.26,5.06)))
opamp_folded.add(gdstk.Reference(nmoshv, (7.97,3.51)))
opamp_folded.add(gdstk.Reference(nmoshv, (3.47,8.96)))
opamp_folded.add(gdstk.Reference(nmoshv, (3.47,6.72)))
opamp_folded.add(gdstk.Reference(nmoshv, (1.22,8.96)))
opamp_folded.add(gdstk.Reference(nmoshv, (1.22,6.72)))
opamp_folded.add(gdstk.Reference(via_stack_1, (11.65,5.885)))
opamp_folded.add(gdstk.Reference(nmoshv, (7.97,1.27)))
opamp_folded.add(gdstk.Reference(via_stack, (11.01,5.06)))
opamp_folded.add(gdstk.Reference(nmoshv, (10.22,1.27)))
opamp_folded.add(gdstk.Reference(nmoshv, (10.22,8.96)))
opamp_folded.add(gdstk.Reference(via_stack, (6.51,6.37)))
opamp_folded.add(gdstk.Reference(via_stack_1, (8.12,5.885)))
opamp_folded.add(gdstk.Reference(via_stack, (8.76,10.51)))
opamp_folded.add(gdstk.Reference(via_stack_6, (1.305,2.99)))
opamp_folded.add(gdstk.Reference(via_stack_1, (5.87,5.885)))
opamp_folded.add(gdstk.Reference(nmoshv, (7.97,8.96)))
opamp_folded.add(gdstk.Reference(via_stack_6, (3.555,2.985)))
opamp_folded.add(gdstk.Reference(nmoshv, (7.97,6.72)))
opamp_folded.add(gdstk.Reference(via_stack_1, (3.615,5.885)))
opamp_folded.add(gdstk.Reference(via_stack_1, (11.65,11.02)))
opamp_folded.add(gdstk.Reference(nmoshv, (5.72,1.27)))
opamp_folded.add(gdstk.Reference(via_stack_1, (9.4,5.885)))
opamp_folded.add(gdstk.Reference(via_stack, (2.01,5.06)))
opamp_folded.add(gdstk.Reference(nmoshv, (1.22,1.27)))
opamp_folded.add(gdstk.Reference(nmoshv, (5.72,8.96)))
opamp_folded.add(gdstk.Reference(nmoshv, (5.72,6.72)))
opamp_folded.add(gdstk.Reference(nmoshv, (1.22,3.51)))
opamp_folded.add(gdstk.Reference(via_stack, (2.01,6.37)))
opamp_folded.add(gdstk.Reference(via_stack, (4.26,10.51)))
opamp_folded.add(gdstk.Reference(via_stack_1, (2.65,11.02)))
opamp_folded.add(gdstk.Reference(nmoshv, (10.22,6.72)))
opamp_folded.add(gdstk.Reference(via_stack_1, (10.37,5.885)))
opamp_folded.add(gdstk.Reference(via_stack_1, (4.9,11.525)))
opamp_folded.add(gdstk.Reference(via_stack_1, (9.395,11.525)))
opamp_folded.add(gdstk.Reference(via_stack_1, (7.15,11.02)))
opamp_folded.add(gdstk.Reference(via_stack, (11.01,6.37)))
opamp_folded.add(gdstk.Reference(via_stack, (8.76,5.06)))
opamp_folded.add(gdstk.Reference(nmoshv, (5.72,3.51)))
opamp_folded.add(gdstk.Reference(via_stack, (13.26,10.51)))
opamp_folded.add(gdstk.Reference(nmoshv, (12.47,6.72)))
opamp_folded.add(gdstk.Reference(nmoshv, (14.72,6.72)))
opamp_folded.add(gdstk.Reference(nmoshv, (14.72,8.96)))
opamp_folded.add(gdstk.Reference(nmoshv, (16.97,1.27)))
opamp_folded.add(gdstk.Reference(via_stack, (17.76,5.515)))
opamp_folded.add(gdstk.Reference(via_stack, (17.76,10.52)))
opamp_folded.add(gdstk.Reference(via_stack, (15.51,10.52)))
opamp_folded.add(gdstk.Reference(via_stack, (15.51,5.515)))
opamp_folded.add(gdstk.Reference(nmoshv, (12.47,1.27)))
opamp_folded.add(gdstk.Reference(via_stack_1, (12.62,5.885)))
opamp_folded.add(gdstk.Reference(via_stack_1, (13.895,11.525)))
opamp_folded.add(gdstk.Reference(nmoshv, (14.72,3.51)))
opamp_folded.add(gdstk.Reference(nmoshv, (16.97,6.72)))
opamp_folded.add(gdstk.Reference(nmoshv, (12.47,8.96)))
opamp_folded.add(gdstk.Reference(via_stack, (13.26,5.06)))
opamp_folded.add(gdstk.Reference(nmoshv, (14.72,1.27)))
opamp_folded.add(gdstk.Reference(nmoshv, (19.22,8.96)))
opamp_folded.add(gdstk.Reference(nmoshv, (19.22,6.72)))
opamp_folded.add(gdstk.Reference(via_stack, (20.01,10.51)))
opamp_folded.add(gdstk.Reference(nmoshv, (21.47,3.51)))
opamp_folded.add(gdstk.Reference(nmoshv, (21.47,1.27)))
opamp_folded.add(gdstk.Reference(nmoshv, (21.47,8.96)))
opamp_folded.add(gdstk.Reference(nmoshv, (21.47,6.72)))
opamp_folded.add(gdstk.Reference(via_stack, (22.27,5.06)))
opamp_folded.add(gdstk.Reference(nmoshv, (16.97,8.96)))
opamp_folded.add(gdstk.Reference(nmoshv, (19.22,3.51)))
opamp_folded.add(gdstk.Reference(via_stack, (20.01,5.06)))
opamp_folded.add(gdstk.Reference(nmoshv, (19.22,1.27)))
opamp_folded.add(gdstk.Reference(nmoshv, (16.97,3.51)))
opamp_folded.add(gdstk.Reference(nmoshv, (12.47,3.51)))
opamp_folded.add(gdstk.Label('tele_g', (14.861,5.511), layer=8, texttype=25))
opamp_folded.add(gdstk.Label('vp', (0.18,23.845), layer=8, texttype=25))
opamp_folded.add(gdstk.Label('inm_fold', (7.15,18.19), layer=8, texttype=25))
opamp_folded.add(gdstk.Label('inp_fold', (9.4,17.48), layer=8, texttype=25))
opamp_folded.add(gdstk.Label('bias3', (1.372,3.212), layer=8, texttype=25))
opamp_folded.add(gdstk.Label('tele_p', (16.15,6), layer=8, texttype=25))
opamp_folded.add(gdstk.Label('tele_m', (17.12,6), layer=8, texttype=25))
opamp_folded.add(gdstk.Label('gd', (0.18,0.23), layer=8, texttype=25))
opamp_folded.add(gdstk.Label('out', (24.22,12.505), layer=10, texttype=25))
opamp_folded.add(gdstk.Label('inm', (0.1,6.37), layer=10, texttype=25))
opamp_folded.add(gdstk.Label('inp', (0.1,10.51), layer=10, texttype=25))
opamp_folded.add(gdstk.Label('bias', (0.1,5.06), layer=10, texttype=25))

lib.write_gds('opamp_folded.gds')
